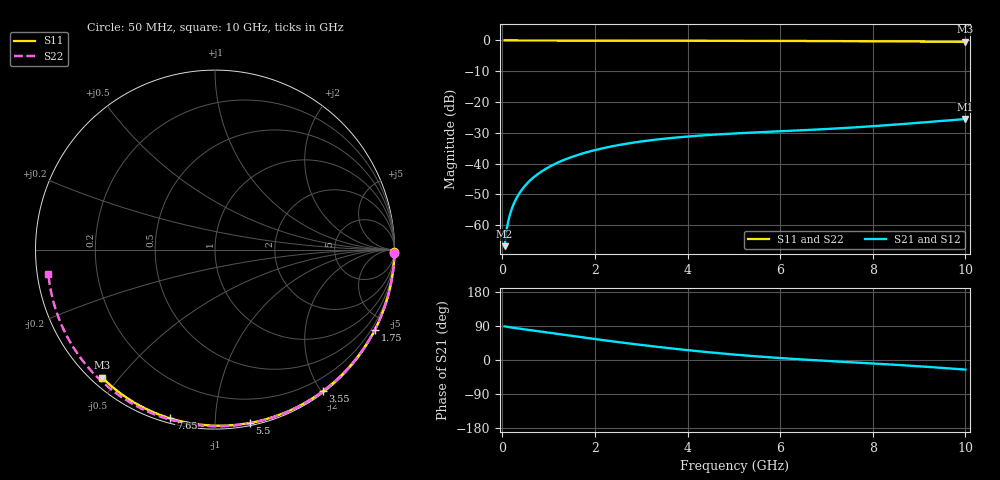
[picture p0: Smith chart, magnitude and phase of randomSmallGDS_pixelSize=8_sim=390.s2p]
! freq	dB(S11)	phase(S11)	dB(S12)	phase(S12)
!  dB(S21)	phase(S21)	dB(S22)	phase(S22)
!S-par simulation data
#  GHz  S  DB  R 50
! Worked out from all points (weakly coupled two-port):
!   200 points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, 50 MHz to 10 GHz, reference 50 ohm
!   highest |S21| = -25.50 dB at 10 GHz (marker M1); lowest = -66.8 dB at 50 MHz (marker M2)
!   lowest |S11| = -0.4 dB at 10 GHz (marker M3), VSWR 39.31, Z = 1.53 - j22.6 ohm
!   |S11| at or under -10 dB: nowhere
!   |S22| runs from -0.6 to 0.0 dB; largest |S21 - S12| = 0
!   S11 on the Smith chart (normalised r, x): 50 MHz: open; 1.75 GHz: 0.04, -4.23; 3.55 GHz: 0.02, -2.02; 5.5 GHz: 0.02, -1.22; 7.65 GHz: 0.02, -0.77; 10 GHz: 0.03, -0.45
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0.05  -0.00 -0.8  -66.78 88.8  -66.78 88.8  -0.00 -1.0
0.1  -0.00 -1.5  -60.79 87.7  -60.79 87.7  -0.00 -2.0
0.15  -0.00 -2.3  -57.30 86.6  -57.30 86.6  -0.00 -3.1
0.2  -0.00 -3.1  -54.84 85.7  -54.84 85.7  -0.00 -4.1
0.25  -0.00 -3.9  -52.93 84.8  -52.93 84.8  -0.00 -5.1
0.35  -0.00 -5.4  -50.05 83.1  -50.05 83.1  -0.01 -7.1
0.5  -0.01 -7.7  -47.01 80.5  -47.01 80.5  -0.01 -10.2
0.7  -0.01 -10.8  -44.14 77.1  -44.14 77.1  -0.02 -14.2
1  -0.02 -15.3  -41.14 72.0  -41.14 72.0  -0.03 -20.2
1.35  -0.03 -20.6  -38.67 66.1  -38.67 66.1  -0.03 -27.1
1.75  -0.03 -26.6  -36.61 59.4  -36.61 59.4  -0.05 -34.9
2.6  -0.05 -39.1  -33.72 45.8  -33.72 45.8  -0.07 -51.2
3.4  -0.07 -50.5  -32.05 34.0  -32.05 34.0  -0.09 -65.9
3.55  -0.07 -52.6  -31.81 31.9  -31.81 31.9  -0.09 -68.6
4.3  -0.09 -62.9  -30.85 22.3  -30.85 22.3  -0.12 -81.7
5.05  -0.11 -72.9  -30.16 13.9  -30.16 13.9  -0.15 -94.3
5.5  -0.13 -78.7  -29.83 9.5  -29.83 9.5  -0.17 -101.7
6.7  -0.18 -93.6  -28.99 -0.2  -28.99 -0.2  -0.23 -120.6
7.65  -0.24 -104.9  -28.19 -6.7  -28.19 -6.7  -0.31 -135.2
8.35  -0.29 -113.0  -27.47 -11.6  -27.47 -11.6  -0.37 -145.9
9.2  -0.36 -122.5  -26.48 -18.2  -26.48 -18.2  -0.46 -158.9
10  -0.44 -131.3  -25.50 -25.3  -25.50 -25.3  -0.56 -171.6
